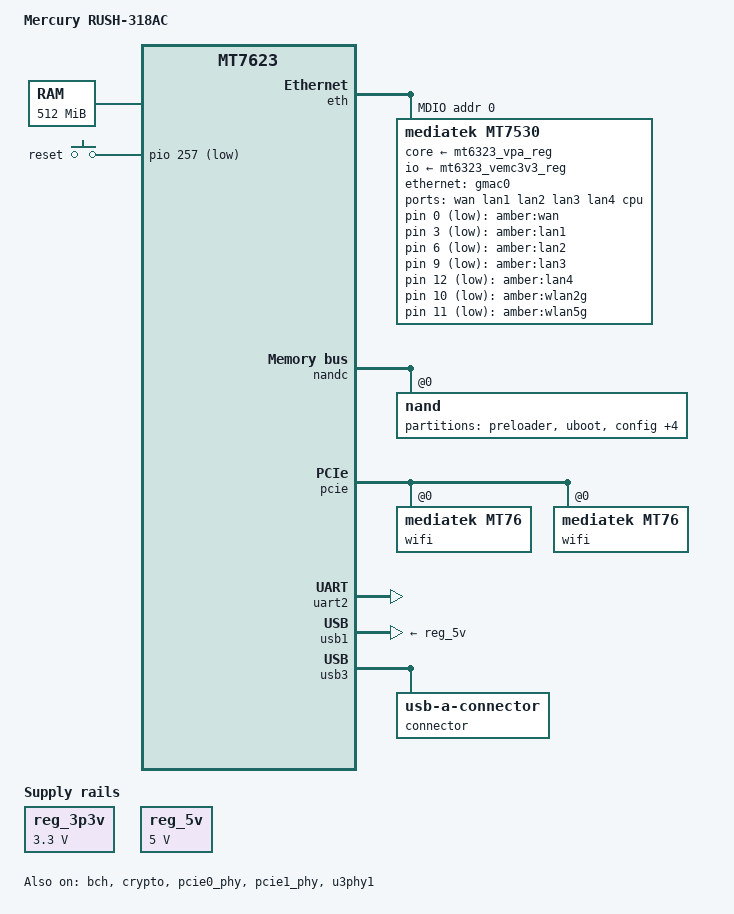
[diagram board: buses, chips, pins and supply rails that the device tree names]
// SPDX-License-Identifier: GPL-2.0-or-later OR MIT
/dts-v1/;

#include <dt-bindings/input/input.h>
// for 5.10:
#include "mt7623a.dtsi"
// for 5.4:
// #include "mt7623.dtsi"
#include "mt6323.dtsi"

/ {
	model = "Mercury RUSH-318AC";
	compatible = "mercury,rush-318ac", "mediatek,mt7623";

	aliases {
		serial2 = &uart2;
		led-boot = &led_wan;
		led-failsafe = &led_wan;
		led-upgrade = &led_wan;
	};

	chosen {
		bootargs = "earlycon=uart8250,mmio32,0x11004000 console=ttyS0,115200n8";
		stdout-path = "serial2:115200n8";
	};

	memory@80000000 {
		device_type = "memory";
		reg = <0 0x80000000 0 0x20000000>;
	};

	cpus {
		cpu@0 {
			proc-supply = <&mt6323_vproc_reg>;
		};

		cpu@1 {
			proc-supply = <&mt6323_vproc_reg>;
		};

		cpu@2 {
			proc-supply = <&mt6323_vproc_reg>;
		};

		cpu@3 {
			proc-supply = <&mt6323_vproc_reg>;
		};
	};

	keys {
		compatible = "gpio-keys-polled";
		poll-interval = <20>;
		pinctrl-names = "default";
		pinctrl-0 = <&key_pins>;

		reset {
			label = "reset";
			linux,code = <KEY_RESTART>;
			gpios = <&pio 257 GPIO_ACTIVE_LOW>;
		};
	};

	leds {
		compatible = "gpio-leds";

		led_wan: wan {
			label = "amber:wan";
			gpios = <&mt7530 0 GPIO_ACTIVE_LOW>;
		};

		lan1 {
			label = "amber:lan1";
			gpios = <&mt7530 3 GPIO_ACTIVE_LOW>;
		};

		lan2 {
			label = "amber:lan2";
			gpios = <&mt7530 6 GPIO_ACTIVE_LOW>;
		};

		lan3 {
			label = "amber:lan3";
			gpios = <&mt7530 9 GPIO_ACTIVE_LOW>;
		};

		lan4 {
			label = "amber:lan4";
			gpios = <&mt7530 12 GPIO_ACTIVE_LOW>;
		};

		wlan2g {
			label = "amber:wlan2g";
			linux,default-trigger = "phy0radio";
			gpios = <&mt7530 10 GPIO_ACTIVE_LOW>;
		};

		wlan5g {
			label = "amber:wlan5g";
			linux,default-trigger = "phy1radio";
			gpios = <&mt7530 11 GPIO_ACTIVE_LOW>;
		};
	};

	reg_3p3v: regulator-3p3v {
		compatible = "regulator-fixed";
		regulator-name = "fixed-3.3V";
		regulator-min-microvolt = <3300000>;
		regulator-max-microvolt = <3300000>;
		regulator-boot-on;
		regulator-always-on;
	};

	reg_5v: regulator-5v {
		compatible = "regulator-fixed";
		regulator-name = "fixed-5V";
		regulator-min-microvolt = <5000000>;
		regulator-max-microvolt = <5000000>;
		regulator-boot-on;
		regulator-always-on;
	};
};

&bch {
	status = "okay";
};

&crypto {
	status = "okay";
};

&eth {
	status = "okay";

	gmac0: mac@0 {
		compatible = "mediatek,eth-mac";
		reg = <0>;
		phy-mode = "trgmii";
		mtd-mac-address = <&config 0x20004>;
		mtd-mac-address-increment = <1>;

		fixed-link {
			speed = <1000>;
			full-duplex;
			pause;
		};
	};

	mdio-bus {
		#address-cells = <1>;
		#size-cells = <0>;

		mt7530: switch@0 {
			compatible = "mediatek,mt7530";
		};
	};
};

&mt7530 {
	compatible = "mediatek,mt7530";
	reg = <0>;
	mediatek,mcm;
	resets = <&ethsys MT2701_ETHSYS_MCM_RST>;
	reset-names = "mcm";
	core-supply = <&mt6323_vpa_reg>;
	io-supply = <&mt6323_vemc3v3_reg>;

	gpio-controller;
	#gpio-cells = <2>;

	ports {
		#address-cells = <1>;
		#size-cells = <0>;

		port@0 {
			reg = <0>;
			label = "wan";
			mtd-mac-address = <&config 0x20004>;
		};

		port@1 {
			reg = <1>;
			label = "lan1";
		};

		port@2 {
			reg = <2>;
			label = "lan2";
		};

		port@3 {
			reg = <3>;
			label = "lan3";
		};

		port@4 {
			reg = <4>;
			label = "lan4";
		};

		port@6 {
			reg = <6>;
			label = "cpu";
			ethernet = <&gmac0>;
			phy-mode = "trgmii";

			fixed-link {
				speed = <1000>;
				full-duplex;
			};
		};
	};
};

&nandc {
	pinctrl-names = "default";
	pinctrl-0 = <&nand_pins_default>;
	status = "okay";

	nand@0 {
		reg = <0>;
		spare_per_sector = <64>;
		nand-ecc-mode = "hw";
		nand-ecc-strength = <12>;
		nand-ecc-step-size = <1024>;
		mtk,fdm-ecc-size = <8>;
		mtk,no-bad-mark-swap;

		partitions {
			compatible = "fixed-partitions";
			#address-cells = <1>;
			#size-cells = <1>;

			partition@0 {
				label = "preloader";
				reg = <0x0 0x40000>;
				read-only;
			};

			partition@40000 {
				label = "uboot";
				reg = <0x40000 0x80000>;
				read-only;
			};

			config: partition@c0000 {
				label = "config";
				reg = <0xc0000 0x40000>;
				read-only;
			};

			factory: partition@100000 {
				label = "factory";
				reg = <0x100000 0x40000>;
				read-only;
			};

			partition@140000 {
				label = "kernel";
				reg = <0x140000 0x800000>;
			};

			partition@940000 {
				label = "ubi";
				reg = <0x940000 0x6f00000>;
			};

			partition@7840000 {
				label = "bmtpool";
				reg = <0x7840000 0x7c0000>;
				read-only;
			};
		};
	};
};

&pcie {
	pinctrl-names = "default";
	pinctrl-0 = <&pcie_default>;
	status = "okay";

	pcie@0,0 {
		status = "okay";

		wifi@0,0 {
			compatible = "mediatek,mt76";
			reg = <0x0000 0 0 0 0>;
			mediatek,mtd-eeprom = <&factory 0x0>;
			ieee80211-freq-limit = <2400000 2500000>;
		};
	};

	pcie@1,0 {
		status = "okay";

		wifi@0,0 {
			compatible = "mediatek,mt76";
			reg = <0x0000 0 0 0 0>;
			mediatek,mtd-eeprom = <&factory 0x8000>;
			ieee80211-freq-limit = <5000000 6000000>;
		};
	};
};

&pcie0_phy {
	status = "okay";
};

&pcie1_phy {
	status = "okay";
};

&pio {
	key_pins: keys {
		pins-keys {
			pinmux = <MT7623_PIN_257_GPIO257_FUNC_GPIO257>;
			input-enable;
		};
	};

	musb_pins: musb {
		pins-musb {
			pinmux = <MT7623_PIN_237_EXT_SDIO2_FUNC_DRV_VBUS>;
		};
	};
};

&uart2 {
	pinctrl-names = "default";
	pinctrl-0 = <&uart2_pins_b>;
	status = "okay";
};

&usb1 {
	status = "okay";

	vusb33-supply = <&reg_3p3v>;
	vbus-supply = <&reg_5v>;
	#address-cells = <1>;
	#size-cells = <0>;

	u3phy1_port1: port@1 {
		reg = <1>;
		#trigger-source-cells = <0>;
	};
};

&u3phy1 {
	status = "okay";
};

// comment out this node if using 5.4:
&usb3 {
	pinctrl-names = "default";
	pinctrl-0 = <&musb_pins>;
	status = "okay";

	usb-role-switch;

	connector {
		compatible = "usb-a-connector";
	};
};
